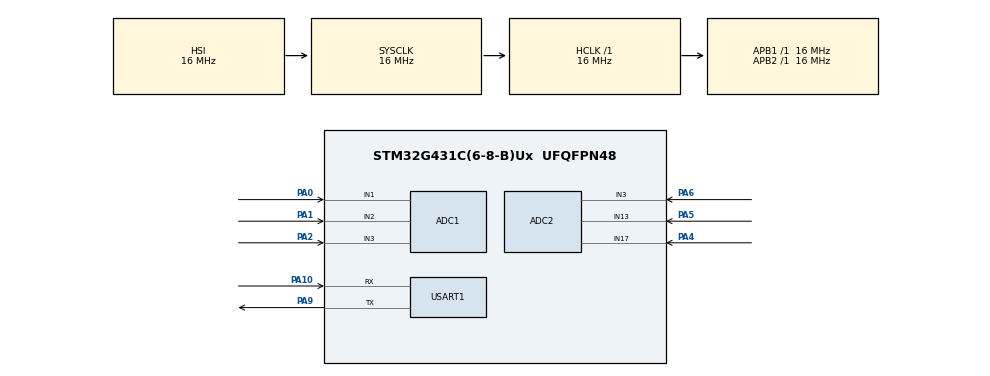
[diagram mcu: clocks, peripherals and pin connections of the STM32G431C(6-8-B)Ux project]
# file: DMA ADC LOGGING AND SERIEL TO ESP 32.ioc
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ADC1.Channel-0\#ChannelRegularConversion=ADC_CHANNEL_1
ADC1.Channel-1\#ChannelRegularConversion=ADC_CHANNEL_2
ADC1.Channel-2\#ChannelRegularConversion=ADC_CHANNEL_3
ADC1.ContinuousConvMode=DISABLE
ADC1.DMAAccessModeView=ENABLE
ADC1.DMAContinuousRequests=ENABLE
ADC1.ExternalTrigConv=ADC_EXTERNALTRIG_T6_TRGO
ADC1.Mode=ADC_DUALMODE_REGSIMULT
ADC1.NbrOfConversion=3
ADC1.NbrOfConversionFlag=1
ADC1.OffsetNumber-0\#ChannelRegularConversion=ADC_OFFSET_NONE
ADC1.OffsetNumber-1\#ChannelRegularConversion=ADC_OFFSET_NONE
ADC1.OffsetNumber-2\#ChannelRegularConversion=ADC_OFFSET_NONE
ADC1.Rank-0\#ChannelRegularConversion=1
ADC1.Rank-1\#ChannelRegularConversion=2
ADC1.Rank-2\#ChannelRegularConversion=3
ADC1.SamplingTime-0\#ChannelRegularConversion=ADC_SAMPLETIME_47CYCLES_5
ADC1.SamplingTime-1\#ChannelRegularConversion=ADC_SAMPLETIME_47CYCLES_5
ADC1.SamplingTime-2\#ChannelRegularConversion=ADC_SAMPLETIME_47CYCLES_5
ADC1.master=1
ADC2.Channel-0\#ChannelRegularConversion=ADC_CHANNEL_17
ADC2.Channel-1\#ChannelRegularConversion=ADC_CHANNEL_13
ADC2.Channel-2\#ChannelRegularConversion=ADC_CHANNEL_3
ADC2.DMAAccessModeView=ENABLE
ADC2.DMAContinuousRequests=ENABLE
ADC2.Mode=ADC_DUALMODE_REGSIMULT
ADC2.NbrOfConversion=3
ADC2.NbrOfConversionFlag=1
ADC2.OffsetNumber-0\#ChannelRegularConversion=ADC_OFFSET_NONE
ADC2.OffsetNumber-1\#ChannelRegularConversion=ADC_OFFSET_NONE
ADC2.OffsetNumber-2\#ChannelRegularConversion=ADC_OFFSET_NONE
ADC2.Rank-0\#ChannelRegularConversion=1
ADC2.Rank-1\#ChannelRegularConversion=2
ADC2.Rank-2\#ChannelRegularConversion=3
ADC2.SamplingTime-0\#ChannelRegularConversion=ADC_SAMPLETIME_47CYCLES_5
ADC2.SamplingTime-1\#ChannelRegularConversion=ADC_SAMPLETIME_47CYCLES_5
ADC2.SamplingTime-2\#ChannelRegularConversion=ADC_SAMPLETIME_47CYCLES_5
Dma.ADC1.0.Direction=DMA_PERIPH_TO_MEMORY
Dma.ADC1.0.EventEnable=DISABLE
Dma.ADC1.0.Instance=DMA1_Channel1
Dma.ADC1.0.MemDataAlignment=DMA_MDATAALIGN_WORD
Dma.ADC1.0.MemInc=DMA_MINC_ENABLE
Dma.ADC1.0.Mode=DMA_CIRCULAR
Dma.ADC1.0.PeriphDataAlignment=DMA_PDATAALIGN_WORD
Dma.ADC1.0.PeriphInc=DMA_PINC_DISABLE
Dma.ADC1.0.Polarity=HAL_DMAMUX_REQ_GEN_RISING
Dma.ADC1.0.Priority=DMA_PRIORITY_LOW
Dma.ADC1.0.RequestNumber=1
Dma.ADC1.0.SignalID=NONE
Dma.ADC1.0.SyncEnable=DISABLE
Dma.ADC1.0.SyncPolarity=HAL_DMAMUX_SYNC_NO_EVENT
Dma.ADC1.0.SyncRequestNumber=1
Dma.ADC1.0.SyncSignalID=NONE
Dma.ADC2.1.Direction=DMA_PERIPH_TO_MEMORY
Dma.ADC2.1.EventEnable=DISABLE
Dma.ADC2.1.Instance=DMA1_Channel2
Dma.ADC2.1.MemDataAlignment=DMA_MDATAALIGN_WORD
Dma.ADC2.1.MemInc=DMA_MINC_ENABLE
Dma.ADC2.1.Mode=DMA_CIRCULAR
Dma.ADC2.1.PeriphDataAlignment=DMA_PDATAALIGN_HALFWORD
Dma.ADC2.1.PeriphInc=DMA_PINC_DISABLE
Dma.ADC2.1.Polarity=HAL_DMAMUX_REQ_GEN_RISING
Dma.ADC2.1.Priority=DMA_PRIORITY_LOW
Dma.ADC2.1.RequestNumber=1
Dma.ADC2.1.SignalID=NONE
Dma.ADC2.1.SyncEnable=DISABLE
Dma.ADC2.1.SyncPolarity=HAL_DMAMUX_SYNC_NO_EVENT
Dma.ADC2.1.SyncRequestNumber=1
Dma.ADC2.1.SyncSignalID=NONE
Dma.Request0=ADC1
Dma.Request1=ADC2
Mcu.Family=STM32G4
Mcu.Name=STM32G431C(6-8-B)Ux
Mcu.Package=UFQFPN48
NVIC.DMA1_Channel1_IRQn=true\:0\:0\:false\:false\:true\:false\:true\:true
NVIC.DMA1_Channel2_IRQn=true\:0\:0\:false\:false\:true\:false\:true\:true
NVIC.PriorityGroup=NVIC_PRIORITYGROUP_4
PA0.Mode=IN1-Single-Ended
PA0.Signal=ADC1_IN1
PA1.Mode=IN2-Single-Ended
PA1.Signal=ADC1_IN2
PA10.Mode=Asynchronous
PA10.Signal=USART1_RX
PA2.Mode=IN3-Single-Ended
PA2.Signal=ADC1_IN3
PA4.Mode=IN17-Single-Ended
PA4.Signal=ADC2_IN17
PA5.Mode=IN13-Single-Ended
PA5.Signal=ADC2_IN13
PA6.Mode=IN3-Single-Ended
PA6.Signal=ADC2_IN3
PA9.Mode=Asynchronous
PA9.Signal=USART1_TX
ProjectManager.HeapSize=0x800
ProjectManager.StackSize=0x1000
ProjectManager.TargetToolchain=STM32CubeIDE
RCC.ADC12Freq_Value=16000000
RCC.AHBFreq_Value=16000000
RCC.APB1Freq_Value=16000000
RCC.APB1TimFreq_Value=16000000
RCC.APB2Freq_Value=16000000
RCC.APB2TimFreq_Value=16000000
RCC.CortexFreq_Value=16000000
RCC.EXTERNAL_CLOCK_VALUE=12288000
RCC.HCLKFreq_Value=16000000
RCC.HSE_VALUE=8000000
RCC.HSI48_VALUE=48000000
RCC.HSI_VALUE=16000000
RCC.LSE_VALUE=32768
RCC.SYSCLKFreq_VALUE=16000000
RCC.USBFreq_Value=64000000
RCC.VCOOutputFreq_Value=128000000
TIM6.PeriodNoDither=99
TIM6.Prescaler=49
TIM6.TIM_MasterOutputTrigger=TIM_TRGO_UPDATE
USART1.VirtualMode-Asynchronous=VM_ASYNC
VP_SYS_VS_DBSignals.Mode=DisableDeadBatterySignals
VP_TIM6_VS_ClockSourceINT.Mode=Enable_Timer
board=custom

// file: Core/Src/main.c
/* USER CODE BEGIN Header */
/**
  ******************************************************************************
  * @file           : main.c
  * @brief          : Main program body
  ******************************************************************************
  * @attention
  *
  * Copyright (c) 2026 STMicroelectronics.
  * All rights reserved.
  *
  * This software is licensed under terms that can be found in the LICENSE file
  * in the root directory of this software component.
  * If no LICENSE file comes with this software, it is provided AS-IS.
  *
  ******************************************************************************
  */
/* USER CODE END Header */
#include "main.h"

/* USER CODE BEGIN Includes */
#include "energo_dsp.h"
#include "energo_telemetry.h"
/* USER CODE END Includes */

ADC_HandleTypeDef hadc1;
ADC_HandleTypeDef hadc2;
DMA_HandleTypeDef hdma_adc1;
DMA_HandleTypeDef hdma_adc2;

TIM_HandleTypeDef htim6;

UART_HandleTypeDef huart1;

void SystemClock_Config(void);
static void MX_GPIO_Init(void);
static void MX_DMA_Init(void);
static void MX_ADC1_Init(void);
static void MX_ADC2_Init(void);
static void MX_TIM6_Init(void);
static void MX_USART1_UART_Init(void);

int main(void)
{

  /* MCU Configuration--------------------------------------------------------*/

  /* Reset of all peripherals, Initializes the Flash interface and the Systick. */
  HAL_Init();

  /* Configure the system clock */
  SystemClock_Config();

  /* Initialize all configured peripherals */
  MX_GPIO_Init();
  MX_DMA_Init();
  MX_ADC1_Init();
  MX_ADC2_Init();
  MX_TIM6_Init();
  MX_USART1_UART_Init();
  /* USER CODE BEGIN 2 */
  Energo_Init();
  uint32_t last_live_tick = HAL_GetTick();
  uint32_t last_energy_tick = HAL_GetTick();
  /* USER CODE END 2 */

  /* Infinite loop */
  while (1)
  {

    /* USER CODE BEGIN 3 */
    if (dsp_ready) {
        dsp_ready = 0;

        if (startup_warmup_count < STARTUP_SKIP_WINDOWS) {
            // Still warming up — update DC offsets, but discard energy/results
            startup_warmup_count++;
            for (int ph = 0; ph < NUM_PHASES; ph++) {
                PhaseMetrics temp = energy_sys.phase[ph];
                calculate_phase_metrics(v_proc[ph], i_proc[ph], &temp, DSP_WINDOW_SAMPLES);
                // Keep the seeded IIR DC offsets, discard everything else
                energy_sys.phase[ph].v_offset = temp.v_offset;
                energy_sys.phase[ph].i_offset = temp.i_offset;
            }
        } else {
            // Normal operation
            for (int ph = 0; ph < NUM_PHASES; ph++) {
                calculate_phase_metrics(v_proc[ph], i_proc[ph],
                                        &energy_sys.phase[ph], DSP_WINDOW_SAMPLES);
            }
        }
    }

    uint32_t now = HAL_GetTick();
    if (now - last_live_tick >= LIVE_INTERVAL_MS) {
        last_live_tick = now;
        Energo_SendLiveTelemetry();
    }
    if (now - last_energy_tick >= ENERGY_INTERVAL_MS) {
        last_energy_tick = now;
        Energo_SendEnergySummary();
    }
  }
  /* USER CODE END 3 */
}

void SystemClock_Config(void)
{
  RCC_OscInitTypeDef RCC_OscInitStruct = {0};
  RCC_ClkInitTypeDef RCC_ClkInitStruct = {0};

  /** Configure the main internal regulator output voltage
  */
  HAL_PWREx_ControlVoltageScaling(PWR_REGULATOR_VOLTAGE_SCALE1);

  /** Initializes the RCC Oscillators according to the specified parameters
  * in the RCC_OscInitTypeDef structure.
  */
  RCC_OscInitStruct.OscillatorType = RCC_OSCILLATORTYPE_HSI;
  RCC_OscInitStruct.HSIState = RCC_HSI_ON;
  RCC_OscInitStruct.HSICalibrationValue = RCC_HSICALIBRATION_DEFAULT;
  RCC_OscInitStruct.PLL.PLLState = RCC_PLL_NONE;
  if (HAL_RCC_OscConfig(&RCC_OscInitStruct) != HAL_OK)
  {
    Error_Handler();
  }

  /** Initializes the CPU, AHB and APB buses clocks
  */
  RCC_ClkInitStruct.ClockType = RCC_CLOCKTYPE_HCLK|RCC_CLOCKTYPE_SYSCLK
                              |RCC_CLOCKTYPE_PCLK1|RCC_CLOCKTYPE_PCLK2;
  RCC_ClkInitStruct.SYSCLKSource = RCC_SYSCLKSOURCE_HSI;
  RCC_ClkInitStruct.AHBCLKDivider = RCC_SYSCLK_DIV1;
  RCC_ClkInitStruct.APB1CLKDivider = RCC_HCLK_DIV1;
  RCC_ClkInitStruct.APB2CLKDivider = RCC_HCLK_DIV1;

  if (HAL_RCC_ClockConfig(&RCC_ClkInitStruct, FLASH_LATENCY_0) != HAL_OK)
  {
    Error_Handler();
  }
}

static void MX_ADC1_Init(void)
{

  ADC_MultiModeTypeDef multimode = {0};
  ADC_ChannelConfTypeDef sConfig = {0};

  /** Common config
  */
  hadc1.Instance = ADC1;
  hadc1.Init.ClockPrescaler = ADC_CLOCK_SYNC_PCLK_DIV2;
  hadc1.Init.Resolution = ADC_RESOLUTION_12B;
  hadc1.Init.DataAlign = ADC_DATAALIGN_RIGHT;
  hadc1.Init.GainCompensation = 0;
  hadc1.Init.ScanConvMode = ADC_SCAN_ENABLE;
  hadc1.Init.EOCSelection = ADC_EOC_SINGLE_CONV;
  hadc1.Init.LowPowerAutoWait = DISABLE;
  hadc1.Init.ContinuousConvMode = DISABLE;
  hadc1.Init.NbrOfConversion = 3;
  hadc1.Init.DiscontinuousConvMode = DISABLE;
  hadc1.Init.ExternalTrigConv = ADC_EXTERNALTRIG_T6_TRGO;
  hadc1.Init.ExternalTrigConvEdge = ADC_EXTERNALTRIGCONVEDGE_RISING;
  hadc1.Init.DMAContinuousRequests = ENABLE;
  hadc1.Init.Overrun = ADC_OVR_DATA_PRESERVED;
  hadc1.Init.OversamplingMode = DISABLE;
  if (HAL_ADC_Init(&hadc1) != HAL_OK)
  {
    Error_Handler();
  }

  /** Configure the ADC multi-mode
  */
  multimode.Mode = ADC_DUALMODE_REGSIMULT;
  multimode.DMAAccessMode = ADC_DMAACCESSMODE_12_10_BITS;
  multimode.TwoSamplingDelay = ADC_TWOSAMPLINGDELAY_1CYCLE;
  if (HAL_ADCEx_MultiModeConfigChannel(&hadc1, &multimode) != HAL_OK)
  {
    Error_Handler();
  }

  /** Configure Regular Channel
  */
  sConfig.Channel = ADC_CHANNEL_1;
  sConfig.Rank = ADC_REGULAR_RANK_1;
  sConfig.SamplingTime = ADC_SAMPLETIME_47CYCLES_5;
  sConfig.SingleDiff = ADC_SINGLE_ENDED;
  sConfig.OffsetNumber = ADC_OFFSET_NONE;
  sConfig.Offset = 0;
  if (HAL_ADC_ConfigChannel(&hadc1, &sConfig) != HAL_OK)
  {
    Error_Handler();
  }

  /** Configure Regular Channel
  */
  sConfig.Channel = ADC_CHANNEL_2;
  sConfig.Rank = ADC_REGULAR_RANK_2;
  if (HAL_ADC_ConfigChannel(&hadc1, &sConfig) != HAL_OK)
  {
    Error_Handler();
  }

  /** Configure Regular Channel
  */
  sConfig.Channel = ADC_CHANNEL_3;
  sConfig.Rank = ADC_REGULAR_RANK_3;
  if (HAL_ADC_ConfigChannel(&hadc1, &sConfig) != HAL_OK)
  {
    Error_Handler();
  }

}

static void MX_ADC2_Init(void)
{

  ADC_ChannelConfTypeDef sConfig = {0};

  /** Common config
  */
  hadc2.Instance = ADC2;
  hadc2.Init.ClockPrescaler = ADC_CLOCK_SYNC_PCLK_DIV2;
  hadc2.Init.Resolution = ADC_RESOLUTION_12B;
  hadc2.Init.DataAlign = ADC_DATAALIGN_RIGHT;
  hadc2.Init.GainCompensation = 0;
  hadc2.Init.ScanConvMode = ADC_SCAN_ENABLE;
  hadc2.Init.EOCSelection = ADC_EOC_SINGLE_CONV;
  hadc2.Init.LowPowerAutoWait = DISABLE;
  hadc2.Init.ContinuousConvMode = DISABLE;
  hadc2.Init.NbrOfConversion = 3;
  hadc2.Init.DiscontinuousConvMode = DISABLE;
  hadc2.Init.DMAContinuousRequests = ENABLE;
  hadc2.Init.Overrun = ADC_OVR_DATA_PRESERVED;
  hadc2.Init.OversamplingMode = DISABLE;
  if (HAL_ADC_Init(&hadc2) != HAL_OK)
  {
    Error_Handler();
  }

  /** Configure Regular Channel
  */
  sConfig.Channel = ADC_CHANNEL_17;
  sConfig.Rank = ADC_REGULAR_RANK_1;
  sConfig.SamplingTime = ADC_SAMPLETIME_47CYCLES_5;
  sConfig.SingleDiff = ADC_SINGLE_ENDED;
  sConfig.OffsetNumber = ADC_OFFSET_NONE;
  sConfig.Offset = 0;
  if (HAL_ADC_ConfigChannel(&hadc2, &sConfig) != HAL_OK)
  {
    Error_Handler();
  }

  /** Configure Regular Channel
  */
  sConfig.Channel = ADC_CHANNEL_13;
  sConfig.Rank = ADC_REGULAR_RANK_2;
  if (HAL_ADC_ConfigChannel(&hadc2, &sConfig) != HAL_OK)
  {
    Error_Handler();
  }

  /** Configure Regular Channel
  */
  sConfig.Channel = ADC_CHANNEL_3;
  sConfig.Rank = ADC_REGULAR_RANK_3;
  if (HAL_ADC_ConfigChannel(&hadc2, &sConfig) != HAL_OK)
  {
    Error_Handler();
  }

}

static void MX_TIM6_Init(void)
{

  TIM_MasterConfigTypeDef sMasterConfig = {0};

  htim6.Instance = TIM6;
  htim6.Init.Prescaler = 49;
  htim6.Init.CounterMode = TIM_COUNTERMODE_UP;
  htim6.Init.Period = 99;
  htim6.Init.AutoReloadPreload = TIM_AUTORELOAD_PRELOAD_DISABLE;
  if (HAL_TIM_Base_Init(&htim6) != HAL_OK)
  {
    Error_Handler();
  }
  sMasterConfig.MasterOutputTrigger = TIM_TRGO_UPDATE;
  sMasterConfig.MasterSlaveMode = TIM_MASTERSLAVEMODE_DISABLE;
  if (HAL_TIMEx_MasterConfigSynchronization(&htim6, &sMasterConfig) != HAL_OK)
  {
    Error_Handler();
  }

}

static void MX_USART1_UART_Init(void)
{

  huart1.Instance = USART1;
  huart1.Init.BaudRate = 115200;
  huart1.Init.WordLength = UART_WORDLENGTH_8B;
  huart1.Init.StopBits = UART_STOPBITS_1;
  huart1.Init.Parity = UART_PARITY_NONE;
  huart1.Init.Mode = UART_MODE_TX_RX;
  huart1.Init.HwFlowCtl = UART_HWCONTROL_NONE;
  huart1.Init.OverSampling = UART_OVERSAMPLING_16;
  huart1.Init.OneBitSampling = UART_ONE_BIT_SAMPLE_DISABLE;
  huart1.Init.ClockPrescaler = UART_PRESCALER_DIV1;
  huart1.AdvancedInit.AdvFeatureInit = UART_ADVFEATURE_NO_INIT;
  if (HAL_UART_Init(&huart1) != HAL_OK)
  {
    Error_Handler();
  }
  if (HAL_UARTEx_SetTxFifoThreshold(&huart1, UART_TXFIFO_THRESHOLD_1_8) != HAL_OK)
  {
    Error_Handler();
  }
  if (HAL_UARTEx_SetRxFifoThreshold(&huart1, UART_RXFIFO_THRESHOLD_1_8) != HAL_OK)
  {
    Error_Handler();
  }
  if (HAL_UARTEx_DisableFifoMode(&huart1) != HAL_OK)
  {
    Error_Handler();
  }

}

static void MX_DMA_Init(void)
{

  /* DMA controller clock enable */
  __HAL_RCC_DMAMUX1_CLK_ENABLE();
  __HAL_RCC_DMA1_CLK_ENABLE();

  /* DMA interrupt init */
  /* DMA1_Channel1_IRQn interrupt configuration */
  HAL_NVIC_SetPriority(DMA1_Channel1_IRQn, 0, 0);
  HAL_NVIC_EnableIRQ(DMA1_Channel1_IRQn);
  /* DMA1_Channel2_IRQn interrupt configuration */
  HAL_NVIC_SetPriority(DMA1_Channel2_IRQn, 0, 0);
  HAL_NVIC_EnableIRQ(DMA1_Channel2_IRQn);

}

static void MX_GPIO_Init(void)
{

  /* GPIO Ports Clock Enable */
  __HAL_RCC_GPIOA_CLK_ENABLE();

}

/* USER CODE BEGIN 4 */
void HAL_ADC_ConvHalfCpltCallback(ADC_HandleTypeDef* hadc) {
    if (hadc->Instance == ADC1) {
        uint16_t offset = dma_block_count * SAMPLES_PER_CYCLE;
        Energo_ProcessDMA(&adc_dma_buf[0], offset);
    }
}

void HAL_ADC_ConvCpltCallback(ADC_HandleTypeDef* hadc) {
    if (hadc->Instance == ADC1) {
        uint16_t offset = dma_block_count * SAMPLES_PER_CYCLE;
        Energo_ProcessDMA(&adc_dma_buf[ADC_HALF_BUF_SIZE], offset);
    }
}
/* USER CODE END 4 */

void Error_Handler(void)
{
  __disable_irq();
  while (1)
  {
  }
}
